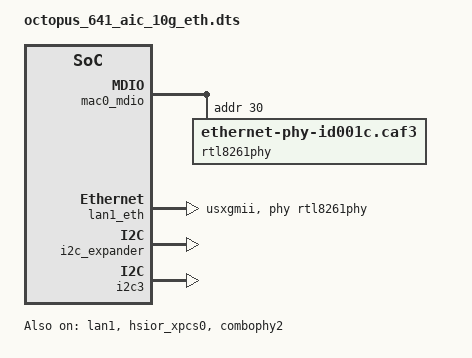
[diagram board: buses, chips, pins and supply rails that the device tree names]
// SPDX-License-Identifier: GPL-2.0
/*
 * Copyright (C) 2020-2022 MaxLinear, Inc.
 * Copyright (C) 2019-2020 Intel Corporation.
 */

/dts-v1/;
#include "octopus_641_base.dtsi"
#include "octopus_641_sfp_eth_wan.dtsi"
#include "octopus_emmc.dtsi"
#include "octopus_641_led.dtsi"
#include "voice.dtsi"

&mac0_mdio {
	rtl8261phy: ethernet-phy@6 {
		reg = <0x1e>;
		compatible = "ethernet-phy-id001c.caf3", "ethernet-phy-ieee802.3-c45";
		interrupt-parent = <&ioapic1>;
	};
};

&aqsphylan {
	status = "disabled";
};

&lan1 {
	status = "okay";

	#address-cells = <1>;
	#size-cells = <0>;

	compatible = "mxl,pdi";
	mxl,dp-dev-port = <4>;
	mxl,dp-port-id = <4>;
	mxl,dp-port-10g;
	mxl,xgmac-id = <4>;
	mac = <&gsw_mac2>;
	phy = <&rtl8261phy>;
	phy-mode = "usxgmii";

	lan1_eth: ethernet@1 {
		compatible = "mxl,pdi-port";
		reg = <1>;
		phy-handle = <&rtl8261phy>;
		phy-mode = "usxgmii";
	};
};

&i2c_expander {
	status = "okay";

	/* 10GPHY:B2/3: x, 0,  MoCA:C0/1: 1,x,  GSW140: B0/1  0,x */
	/* select 10GPHY and GSW140 by default */
	analog_sw_sel1 {
		gpio-hog;
		gpios = <3 GPIO_ACTIVE_HIGH>;
		output-low;
		line-name = "analog_sw_sel1";
	};

	analog_sw_sel2 {
		gpio-hog;
		gpios = <4 GPIO_ACTIVE_HIGH>;
		output-low;
		line-name = "analog_sw_sel2";
	};

	/* 0 - 10GPHY,  1 - MOCA,  2 - GSW140 */
	reset_10gphy {
		gpio-hog;
		gpios = <0 GPIO_ACTIVE_HIGH>;
		output-high;
		line-name = "10gphy-reset";
	};
};

&hsior_xpcs0 {
	xpcs-mode = <6>; /* <0> - SGMII, <1> - 1000BaseX, <2> - 2500BaseX, <3> - 5GBaseR, <4> - 10GBaseR, <5> - USXGMII, <6> - 10GKR, <7> - QUSXGMII */
	status = "okay";
};

&pcie20 {
	status = "disabled";
};

&combophy2 { /* PCIe20/21, HSIOR_XPCS0/1, SATA20/21 */
	status = "okay";
};

&i2c3 {
	status = "okay";
};
